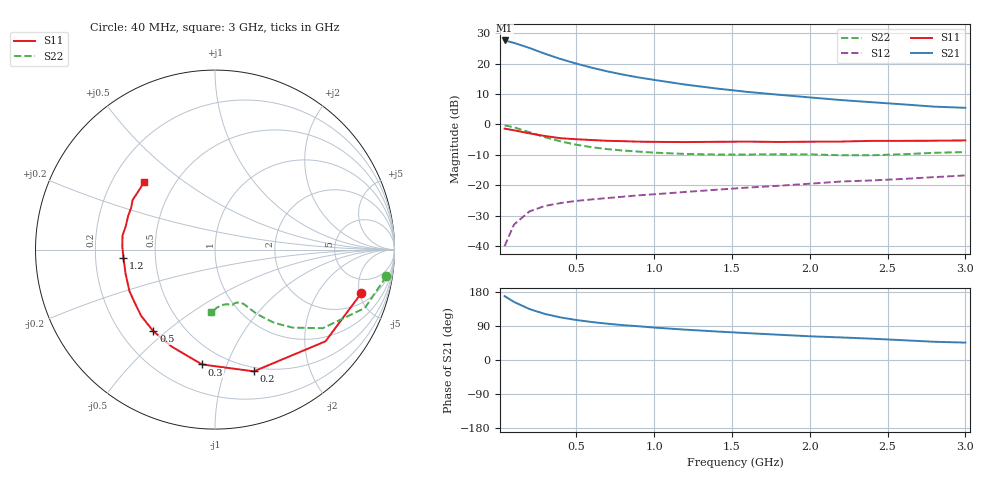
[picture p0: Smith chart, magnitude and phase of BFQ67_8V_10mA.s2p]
! Filename:  BFG67I.S2P  Version:  2.0
! Philips part #: BFG 67  Date: Jul 1990
! Bias condition: Vce=8V, Ic=10mA
! IN LINE PINNING: same data as with cross emitter pinning.
#  MHz  S  MA  R  50
! Freq  S11  S21  S12  S22  !GUM [dB]
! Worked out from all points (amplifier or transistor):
!   21 points, 40 MHz to 3 GHz, reference 50 ohm
!   highest |S21| = 27.6 dB at 40 MHz (marker M1)
!   |S21| within 3 dB of that: start of sweep to 227.6 MHz
!   unconditionally stable (mu >= 1): 1.366 GHz to end of sweep
!   at 300 MHz: K = 0.34, MSG = 25.0 dB, |S12| = -26.8 dB
!   at 1 GHz: K = 0.86, MSG = 18.8 dB, |S12| = -23.0 dB
!   at 3 GHz: K = 1.18, MAG = 8.6 dB, |S12| = -16.8 dB
!   S11 on the Smith chart (normalised r, x): 40 MHz: 2.99, -5.24; 200 MHz: 0.46, -1.26; 300 MHz: 0.38, -0.82; 500 MHz: 0.34, -0.45; 1.2 GHz: 0.32, -0.04; 3 GHz: 0.34, +0.36
40  0.851 -16.5  23.91 168.5  0.00998 81.4  0.966 -8.9
100  0.8 -39.7  21.82 153.3  0.0226 69.7  0.896 -21.3
200  0.712 -72.3  17.98 134.4  0.0372 56.7  0.743 -36.1
300  0.644 -96.4  14.45 121.4  0.0458 49.8  0.614 -45.1
400  0.592 -114.0  11.86 112.3  0.051 45.9  0.525 -51.0
500  0.57 -127.0  9.975 105.6  0.0553 44.5  0.463 -54.6
600  0.553 -138.0  8.538 100.2  0.0585 44.3  0.422 -57.2
700  0.537 -146.0  7.425 95.8  0.0616 44.8  0.392 -58.9
800  0.53 -154.0  6.58 92.0  0.0648 45.5  0.372 -60.1
900  0.52 -160.0  5.902 89.1  0.0683 46.4  0.357 -61.1
1000  0.516 -165.0  5.385 85.6  0.071 47.0  0.343 -62.1
1200  0.512 -175.0  4.505 80.1  0.0776 49.2  0.327 -64.5
1400  0.517 177.8  3.887 75.3  0.0843 51.2  0.319 -67.6
1600  0.521 171.4  3.413 70.9  0.0915 52.5  0.319 -70.4
1800  0.514 165.2  3.071 66.7  0.098 53.9  0.323 -72.0
2000  0.519 158.9  2.773 62.6  0.106 55.4  0.321 -74.2
2200  0.522 153.5  2.51 59.6  0.115 55.9  0.311 -77.6
2400  0.536 148.9  2.311 56.2  0.12 56.7  0.311 -82.7
2600  0.536 143.7  2.132 52.2  0.127 57.7  0.323 -88.0
2800  0.539 140.3  1.955 48.1  0.136 58.5  0.341 -91.5
3000  0.545 136.6  1.871 45.9  0.145 57.2  0.351 -93.4
